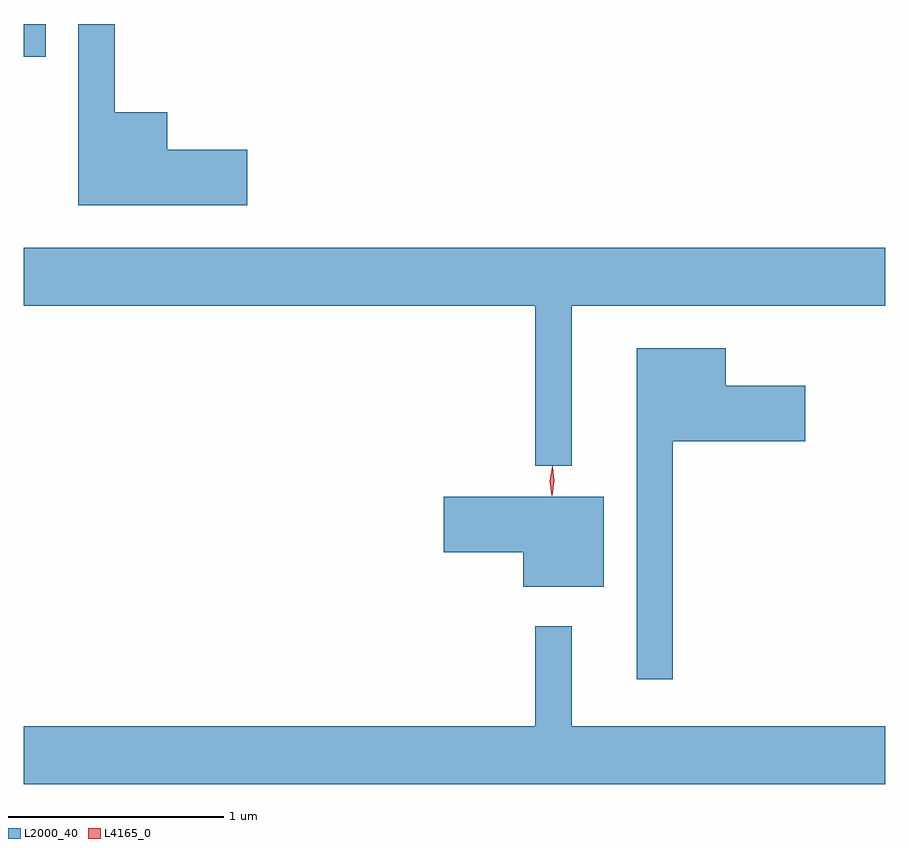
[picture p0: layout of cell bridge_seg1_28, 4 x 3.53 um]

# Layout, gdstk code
import gdstk
lib = gdstk.Library(unit=1e-6, precision=1e-09)
def R(c, l, rs):  # rectangles x0, y0, x1, y1
    for r in rs: c.add(gdstk.rectangle(r[:2], r[2:], *l))
def P(c, l, *ps):  # polygons
    for p in ps: c.add(gdstk.Polygon(p, *l))
L2000_40 = (2000, 40)
L4165_0 = (4165, 0)

bridge_seg1_28 = lib.new_cell('bridge_seg1_28')
R(bridge_seg1_28, L2000_40, [(1648.206,845.231,1648.309,845.383)])
P(bridge_seg1_28, L2000_40, [(1649.244,844.799),(1648.874,844.799),(1648.874,844.974),(1648.629,844.974),(1648.629,845.383),(1648.461,845.383),(1648.461,844.541),(1649.244,844.541)],
  [(1650.749,844.076),(1652.206,844.076),(1652.206,844.344),(1648.206,844.344),(1648.206,844.076),(1650.581,844.076),(1650.581,843.333),(1650.749,843.333)],
  [(1651.219,843.446),(1651.834,843.446),(1651.834,843.704),(1651.464,843.704),(1651.464,843.879),(1651.051,843.879),(1651.051,842.343),(1651.219,842.343)],
  [(1650.899,843.189),(1650.156,843.189),(1650.156,842.931),(1650.526,842.931),(1650.526,842.771),(1650.899,842.771)],
  [(1652.206,842.124),(1650.749,842.124),(1650.749,842.588),(1650.581,842.588),(1650.581,842.124),(1648.206,842.124),(1648.206,841.856),(1652.206,841.856)])
P(bridge_seg1_28, L4165_0, [(1650.658,843.2),(1650.658,843.201),(1650.649,843.264),(1650.66,843.326),(1650.66,843.327),(1650.661,843.326),(1650.669,843.263),(1650.659,843.201)],
  [(1650.658,843.194),(1650.658,843.194),(1650.649,843.262),(1650.66,843.33),(1650.66,843.33),(1650.661,843.33),(1650.669,843.262),(1650.659,843.194)])

lib.write_gds('bridge_seg1_28.gds')
